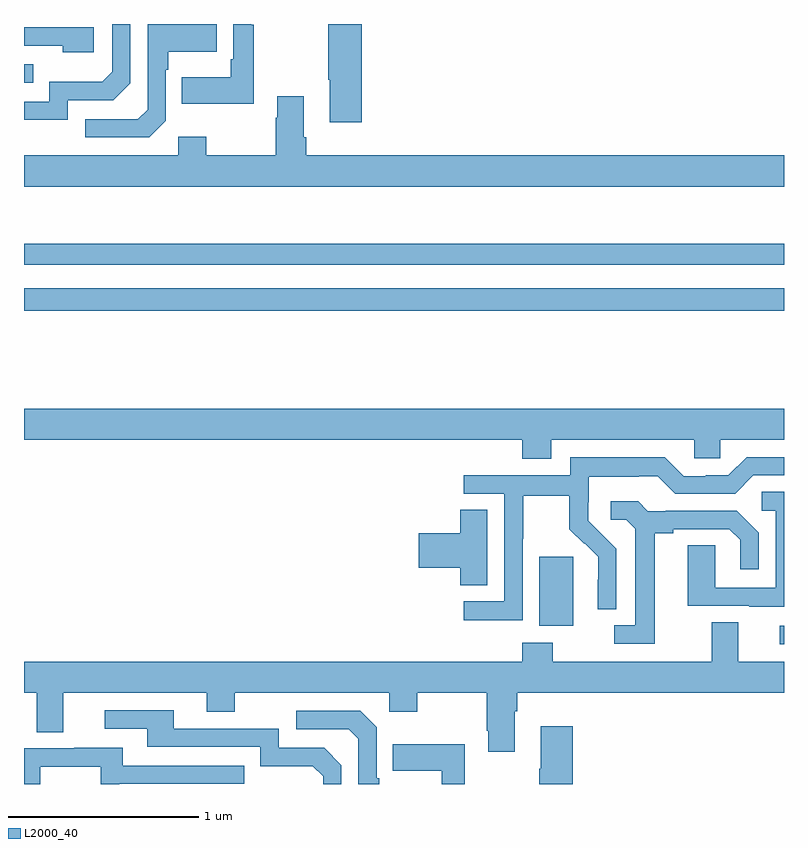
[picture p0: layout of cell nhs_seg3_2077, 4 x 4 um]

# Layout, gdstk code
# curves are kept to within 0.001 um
import gdstk
lib = gdstk.Library(unit=1e-6, precision=1e-09)
def R(c, l, rs):  # rectangles x0, y0, x1, y1
    for r in rs: c.add(gdstk.rectangle(r[:2], r[2:], *l))
def P(c, l, *ps):  # polygons
    for p in ps: c.add(gdstk.Polygon(p, *l))
L2000_40 = (2000, 40)

nhs_seg3_2077 = lib.new_cell('nhs_seg3_2077')
R(nhs_seg3_2077, L2000_40, [(220.977,737.136,221,737.232), (219.713,737.234,219.892,737.595), (217,738.892,221,739.008), (217,739.134,221,739.243), (217,740.091,217.049,740.187), (219.734,740.399,220.123,740.4)])
P(nhs_seg3_2077, L2000_40, [(218.777,740.4),(218.602,740.4),(218.602,740.107),(218.609,740.107),(218.609,739.884),(218.777,739.884)],
  [(217.746,739.89),(217.746,740.159),(217.759,740.159),(217.759,740.255),(218.015,740.255),(218.015,740.4),(217.65,740.4),(217.65,739.95),(217.599,739.899),(217.323,739.899),(217.323,739.803),(217.659,739.803)],
  [(218.209,740.395),(218.197,740.395),(218.197,740.4),(218.1,740.4),(218.1,740.215),(218.088,740.215),(218.088,740.119),(217.831,740.119),(217.831,739.979),(218.209,739.979)],
  [(217.23,739.998),(217.47,739.998),(217.56,740.088),(217.56,740.4),(217.464,740.4),(217.464,740.148),(217.411,740.095),(217.134,740.095),(217.134,739.992),(217,739.992),(217,739.896),(217.23,739.896)],
  [(217.366,740.382),(217,740.382),(217,740.286),(217.205,740.286),(217.205,740.252),(217.366,740.252)],
  [(221,739.708),(218.486,739.708),(218.486,739.804),(218.473,739.804),(218.473,740.02),(218.333,740.02),(218.333,739.907),(218.326,739.907),(218.326,739.708),(217.959,739.708),(217.959,739.807),(217.812,739.807),(217.812,739.708),(217,739.708),(217,739.544),(221,739.544)],
  [(219.775,738.212),(220.527,738.212),(220.527,738.114),(220.665,738.114),(220.665,738.212),(221,738.212),(221,738.376),(217,738.376),(217,738.212),(219.623,738.212),(219.623,738.113),(219.775,738.113)],
  [(219.624,737.692),(219.627,737.692),(219.627,737.916),(219.871,737.916),(219.871,737.741),(219.948,737.664),(219.951,737.667),(220.022,737.597),(220.022,737.474),(220.02,737.474),(220.02,737.32),(220.116,737.32),(220.116,737.638),(219.97,737.786),(219.97,737.883),(219.972,737.883),(219.972,738.017),(220.235,738.017),(220.235,738.021),(220.335,738.021),(220.428,737.928),(220.743,737.928),(220.839,738.024),(221,738.024),(221,738.12),(220.803,738.12),(220.707,738.024),(220.589,738.024),(220.589,738.021),(220.473,738.021),(220.373,738.121),(219.876,738.121),(219.876,738.024),(219.315,738.024),(219.315,737.928),(219.528,737.928),(219.528,737.361),(219.315,737.361),(219.315,737.263),(219.624,737.263)],
  [(221,737.939),(220.884,737.939),(220.884,737.838),(220.956,737.838),(220.956,737.433),(220.638,737.433),(220.638,737.657),(220.493,737.657),(220.493,737.337),(220.817,737.337),(220.817,737.333),(221,737.333)],
  [(220.321,737.72),(220.417,737.72),(220.417,737.742),(220.712,737.742),(220.769,737.685),(220.769,737.529),(220.866,737.529),(220.866,737.722),(220.75,737.838),(220.378,737.838),(220.378,737.835),(220.284,737.835),(220.232,737.887),(220.089,737.887),(220.089,737.79),(220.17,737.79),(220.217,737.743),(220.217,737.235),(220.107,737.235),(220.107,737.139),(220.321,737.139)],
  [(219.439,737.843),(219.296,737.843),(219.296,737.72),(219.078,737.72),(219.078,737.537),(219.296,737.537),(219.296,737.446),(219.439,737.446)],
  [(219.583,736.784),(219.596,736.784),(219.596,736.88),(221,736.88),(221,737.044),(220.759,737.044),(220.759,737.252),(220.619,737.252),(220.619,737.044),(219.783,737.044),(219.783,737.143),(219.623,737.143),(219.623,737.044),(217,737.044),(217,736.88),(217.067,736.88),(217.067,736.672),(217.207,736.672),(217.207,736.88),(217.961,736.88),(217.961,736.781),(218.109,736.781),(218.109,736.88),(218.922,736.88),(218.922,736.781),(219.069,736.781),(219.069,736.88),(219.436,736.88),(219.436,736.681),(219.443,736.681),(219.443,736.569),(219.583,736.569)],
  [(218.67,736.5),(218.58,736.59),(218.34,736.59),(218.34,736.692),(217.789,736.692),(217.789,736.788),(217.425,736.788),(217.425,736.692),(217.649,736.692),(217.649,736.596),(218.244,736.596),(218.244,736.493),(218.521,736.493),(218.574,736.44),(218.574,736.4),(218.67,736.4)],
  [(218.869,736.429),(218.856,736.429),(218.856,736.698),(218.769,736.785),(218.433,736.785),(218.433,736.689),(218.709,736.689),(218.76,736.638),(218.76,736.4),(218.869,736.4)],
  [(219.887,736.705),(219.719,736.705),(219.719,736.481),(219.712,736.481),(219.712,736.4),(219.887,736.4)],
  [(219.319,736.609),(218.941,736.609),(218.941,736.469),(219.198,736.469),(219.198,736.4),(219.319,736.4)],
  [(217.086,736.491),(217.404,736.491),(217.404,736.4),(217.5,736.4),(217.5,736.401),(218.159,736.401),(218.159,736.497),(217.519,736.497),(217.519,736.591),(217.265,736.591),(217.265,736.587),(217,736.587),(217,736.4),(217.086,736.4)])

lib.write_gds('nhs_seg3_2077.gds')
